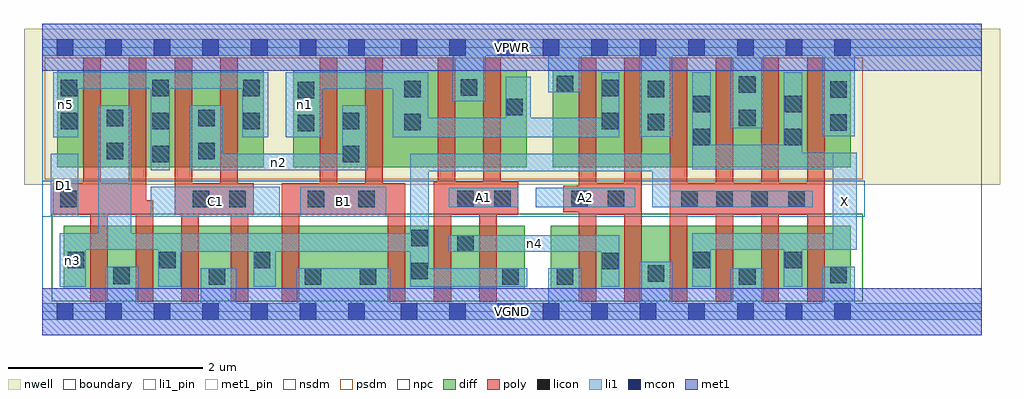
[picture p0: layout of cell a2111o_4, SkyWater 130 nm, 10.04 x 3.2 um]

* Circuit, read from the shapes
.subckt a2111o_4 A1 A2 B1 C1 D1 VGND VPWR X n1 n2 n3 n4 n5
XM1 VGND D1 n3 VSUBS sky130_fd_pr__nfet_01v8 w=0.65 l=0.18 m=2
XM2 VGND C1 n3 VSUBS sky130_fd_pr__nfet_01v8 w=0.65 l=0.18 m=2
XM3 VGND B1 n3 VSUBS sky130_fd_pr__nfet_01v8 w=0.65 l=0.18 m=2
XM4 n4 A1 n3 VSUBS sky130_fd_pr__nfet_01v8 w=0.65 l=0.18 m=2
XM5 n4 A2 VGND VSUBS sky130_fd_pr__nfet_01v8 w=0.65 l=0.18 m=2
XM6 X n3 VGND VSUBS sky130_fd_pr__nfet_01v8 w=0.65 l=0.18 m=4
XM7 n3 D1 n5 n6 sky130_fd_pr__pfet_01v8 w=1 l=0.18 m=2
XM8 n2 C1 n5 n6 sky130_fd_pr__pfet_01v8 w=1 l=0.18 m=2
XM9 n2 B1 n1 n6 sky130_fd_pr__pfet_01v8 w=1 l=0.18 m=2
XM10 VPWR A1 n1 n6 sky130_fd_pr__pfet_01v8 w=1 l=0.18 m=2
XM11 n1 A2 VPWR n6 sky130_fd_pr__pfet_01v8 w=1 l=0.18 m=2
XM12 X n3 VPWR n6 sky130_fd_pr__pfet_01v8 w=1 l=0.18 m=4
.ends

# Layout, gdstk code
import gdstk
lib = gdstk.Library(unit=1e-6, precision=1e-09)
def R(c, l, rs):  # rectangles x0, y0, x1, y1
    for r in rs: c.add(gdstk.rectangle(r[:2], r[2:], *l))
def A(c, l, x, y, w, h, nx, ny, dx, dy):  # array of equal rectangles
    R(c, l, [(x+i*dx, y+j*dy, x+i*dx+w, y+j*dy+h) for i in range(nx) for j in range(ny)])
nwell = (64, 20)
diff = (65, 20)
poly = (66, 20)
licon = (66, 44)
li1_pin = (67, 16)
li1 = (67, 20)
mcon = (67, 44)
met1_pin = (68, 16)
met1 = (68, 20)
nsdm = (93, 44)
psdm = (94, 20)
npc = (95, 20)
boundary = (235, 4)

a2111o_4 = lib.new_cell('a2111o_4')
R(a2111o_4, nwell, [(-0.19,1.305,9.85,2.91), (0,1.305,9.66,2.91)])
R(a2111o_4, diff, [(0.22,0.235,4.96,0.885), (5.23,0.235,8.315,0.885), (0.15,1.485,2.275,2.485), (2.58,1.485,4.98,2.485), (5.25,1.485,8.315,2.485)])
A(a2111o_4, poly, 5.515, 0.105, 0.18, 2.51, 6, 1, 0.47, 0)
A(a2111o_4, poly, 0.42, 0.995, 0.18, 1.62, 4, 1, 0.47, 0)
R(a2111o_4, poly, [(0.49,0.105,0.67,1.325), (0.96,0.105,1.14,1.145), (1.43,0.105,1.61,1.32), (1.935,0.105,2.115,1.32), (2.46,0.105,2.64,1.32), (3.55,0.105,3.73,1.32), (4.025,0.105,4.205,1.335), (4.495,0.105,4.675,1.335), (0.105,0.995,1.07,1.325), (1.36,0.995,2.175,1.32), (2.46,0.995,3.73,1.32), (2.85,0.995,3.03,2.615), (3.32,0.995,3.5,2.615), (4.025,0.995,4.895,1.335), (4.065,0.995,4.245,2.615), (4.535,0.995,4.715,2.615), (5.515,0.995,6.165,1.325), (6.455,0.995,8.045,1.325), (5.355,1.025,6.165,1.295)])
A(a2111o_4, licon, 6.57, 1.075, 0.17, 0.17, 3, 1, 0.36, 0)
A(a2111o_4, licon, 1.13, 1.535, 0.17, 0.17, 1, 3, 0, 0.34)
R(a2111o_4, licon, [(1.71,0.275,1.88,0.445), (2.7,0.275,2.87,0.445), (3.265,0.275,3.435,0.445), (4.73,0.275,4.9,0.445), (5.29,0.275,5.46,0.445), (7.165,0.275,7.335,0.445), (0.73,0.285,0.9,0.455), (8.105,0.295,8.275,0.465), (6.225,0.31,6.395,0.48), (3.795,0.335,3.965,0.505), (5.755,0.435,5.925,0.605), (0.26,0.445,0.43,0.615), (1.2,0.445,1.37,0.615), (2.175,0.445,2.345,0.615), (6.695,0.445,6.865,0.615), (7.635,0.445,7.805,0.615), (4.265,0.615,4.435,0.785), (3.795,0.675,3.965,0.845), (0.185,1.075,0.355,1.245), (1.545,1.075,1.715,1.245), (1.92,1.075,2.09,1.245), (2.73,1.075,2.9,1.245), (3.25,1.075,3.42,1.245), (4.265,1.075,4.435,1.245), (4.645,1.075,4.815,1.245), (5.44,1.075,5.61,1.245), (5.815,1.075,5.985,1.245), (7.67,1.075,7.84,1.245), (3.09,1.535,3.26,1.705), (0.66,1.57,0.83,1.74), (1.6,1.57,1.77,1.74), (6.695,1.71,6.865,1.88), (7.635,1.71,7.805,1.88), (2.625,1.855,2.795,2.025), (8.105,1.86,8.275,2.03), (3.72,1.865,3.89,2.035), (6.225,1.865,6.395,2.035), (0.19,1.875,0.36,2.045), (2.065,1.875,2.235,2.045), (3.09,1.875,3.26,2.045), (5.755,1.875,5.925,2.045), (0.66,1.91,0.83,2.08), (1.6,1.91,1.77,2.08), (7.165,1.91,7.335,2.08), (4.77,2.02,4.94,2.19), (6.695,2.05,6.865,2.22), (7.635,2.05,7.805,2.22), (2.625,2.195,2.795,2.365), (8.105,2.2,8.275,2.37), (3.72,2.205,3.89,2.375), (6.225,2.205,6.395,2.375), (0.19,2.215,0.36,2.385), (2.065,2.215,2.235,2.385), (5.755,2.215,5.925,2.385), (4.305,2.22,4.475,2.39), (7.165,2.25,7.335,2.42), (5.29,2.255,5.46,2.425)])
R(a2111o_4, li1_pin, [(8.13,0.635,8.375,1.635), (0.085,0.975,0.37,1.625), (1.115,0.975,2.44,1.285), (2.65,0.975,3.535,1.285), (4.18,1.075,4.895,1.275), (5.075,1.075,6.1,1.275)])
R(a2111o_4, li1, [(0,-0.085,9.66,0.085), (0.645,-0.085,0.985,0.465), (1.63,-0.085,1.995,0.445), (2.615,-0.085,3.58,0.445), (5.205,-0.085,5.545,0.445), (6.14,-0.085,6.48,0.515), (7.08,-0.085,7.42,0.445), (8.02,-0.085,8.355,0.465), (0.18,0.255,0.445,0.805), (1.19,0.255,1.425,0.805), (2.175,0.255,2.4,0.805), (3.785,0.255,4.985,0.445), (3.785,0.255,3.975,1.625), (5.75,0.255,5.935,0.785), (6.685,0.255,6.875,0.805), (7.625,0.255,7.815,0.805), (1.19,0.615,3.975,0.805), (4.18,0.615,5.935,0.785), (0.18,0.635,3.975,0.805), (0.575,0.635,0.915,2.125), (6.685,0.635,8.375,0.805), (8.13,0.635,8.375,1.635), (0.085,0.975,0.37,1.625), (1.115,0.975,2.44,1.285), (2.65,0.975,3.535,1.285), (4.18,1.075,4.895,1.275), (5.075,1.075,6.1,1.275), (6.275,1.075,7.925,1.245), (6.275,1.075,6.46,1.625), (3.785,1.445,6.46,1.625), (1.115,1.455,1.31,2.465), (1.515,1.455,3.345,1.625), (1.515,1.455,1.855,2.125), (3.085,1.455,3.345,2.125), (6.685,1.465,8.375,1.635), (6.685,1.465,6.875,2.465), (6.685,1.465,7.815,1.715), (7.625,1.465,7.815,2.465), (0.11,1.795,0.37,2.465), (2.055,1.795,2.32,2.465), (2.505,1.795,2.88,2.465), (3.605,1.795,5.935,1.995), (3.605,1.795,3.97,2.465), (4.765,1.795,5.025,2.415), (5.75,1.795,5.935,2.465), (6.14,1.8,6.48,2.805), (8.02,1.805,8.355,2.805), (7.08,1.885,7.42,2.805), (4.22,2.165,4.56,2.805), (5.205,2.255,5.545,2.805), (0.11,2.295,2.32,2.465), (2.505,2.295,3.97,2.465), (0,2.635,9.66,2.805)])
A(a2111o_4, mcon, 0.145, -0.085, 0.17, 0.17, 7, 2, 0.5, 2.72)
A(a2111o_4, mcon, 3.685, -0.085, 0.17, 0.17, 3, 2, 0.5, 2.72)
A(a2111o_4, mcon, 5.145, -0.085, 0.17, 0.17, 7, 2, 0.5, 2.72)
R(a2111o_4, met1_pin, [(0,-0.24,9.66,0.24), (0,2.48,9.66,2.96)])
R(a2111o_4, met1, [(0,-0.24,9.66,0.24), (0,2.48,9.66,2.96)])
R(a2111o_4, nsdm, [(0.095,0.11,8.44,1.01)])
R(a2111o_4, psdm, [(0.025,1.36,8.44,2.61)])
R(a2111o_4, npc, [(0,0.975,8.46,1.345)])
R(a2111o_4, boundary, [(0,0,9.66,2.72)])
a2111o_4.add(gdstk.Label('A1', (4.537,1.175), layer=67, texttype=5))
a2111o_4.add(gdstk.Label('A2', (5.587,1.175), layer=67, texttype=5))
a2111o_4.add(gdstk.Label('B1', (3.092,1.13), layer=67, texttype=5))
a2111o_4.add(gdstk.Label('C1', (1.777,1.13), layer=67, texttype=5))
a2111o_4.add(gdstk.Label('D1', (0.227,1.3), layer=67, texttype=5))
a2111o_4.add(gdstk.Label('X', (8.252,1.135), layer=67, texttype=5))
a2111o_4.add(gdstk.Label('n4', (5.057,0.7), layer=67, texttype=5))
a2111o_4.add(gdstk.Label('n3', (0.312,0.53), layer=67, texttype=5))
a2111o_4.add(gdstk.Label('n2', (2.43,1.54), layer=67, texttype=5))
a2111o_4.add(gdstk.Label('n5', (0.24,2.13), layer=67, texttype=5))
a2111o_4.add(gdstk.Label('n1', (2.692,2.13), layer=67, texttype=5))
a2111o_4.add(gdstk.Label('VPWR', (4.83,2.72), layer=68, texttype=5))
a2111o_4.add(gdstk.Label('VGND', (4.83,0), layer=68, texttype=5))
a2111o_4.add(gdstk.Label('A1', (4.537,1.175), layer=67, texttype=16))
a2111o_4.add(gdstk.Label('A2', (5.587,1.175), layer=67, texttype=16))
a2111o_4.add(gdstk.Label('B1', (3.092,1.13), layer=67, texttype=16))
a2111o_4.add(gdstk.Label('C1', (1.777,1.13), layer=67, texttype=16))
a2111o_4.add(gdstk.Label('D1', (0.227,1.3), layer=67, texttype=16))
a2111o_4.add(gdstk.Label('X', (8.252,1.135), layer=67, texttype=16))
a2111o_4.add(gdstk.Label('VPWR', (4.83,2.72), layer=68, texttype=16))
a2111o_4.add(gdstk.Label('VGND', (4.83,0), layer=68, texttype=16))

lib.write_gds('a2111o_4.gds')
